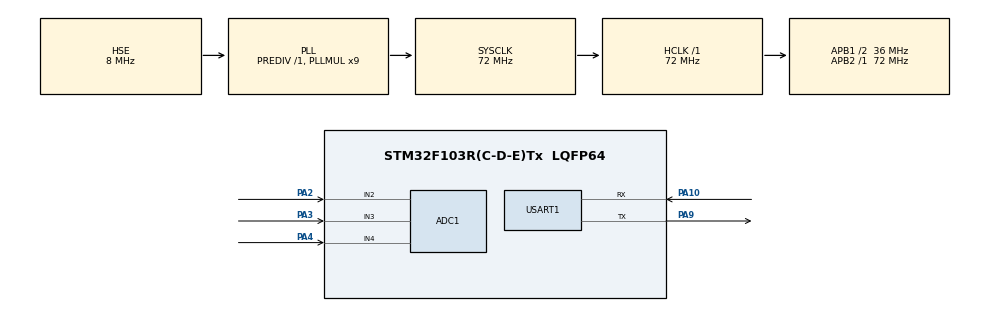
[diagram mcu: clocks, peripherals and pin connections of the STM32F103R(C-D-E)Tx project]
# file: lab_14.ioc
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ADC1.Channel-0\#ChannelRegularConversion=ADC_CHANNEL_2
ADC1.Channel-1\#ChannelRegularConversion=ADC_CHANNEL_3
ADC1.Channel-2\#ChannelRegularConversion=ADC_CHANNEL_4
ADC1.ContinuousConvMode=DISABLE
ADC1.DiscontinuousConvMode=ENABLE
ADC1.NbrOfConversion=3
ADC1.NbrOfConversionFlag=1
ADC1.Rank-0\#ChannelRegularConversion=1
ADC1.Rank-1\#ChannelRegularConversion=2
ADC1.Rank-2\#ChannelRegularConversion=3
ADC1.SamplingTime-0\#ChannelRegularConversion=ADC_SAMPLETIME_1CYCLE_5
ADC1.SamplingTime-1\#ChannelRegularConversion=ADC_SAMPLETIME_1CYCLE_5
ADC1.SamplingTime-2\#ChannelRegularConversion=ADC_SAMPLETIME_1CYCLE_5
ADC1.master=1
Mcu.Family=STM32F1
Mcu.Name=STM32F103R(C-D-E)Tx
Mcu.Package=LQFP64
NVIC.PriorityGroup=NVIC_PRIORITYGROUP_4
PA10.Mode=Asynchronous
PA10.Signal=USART1_RX
PA13.Mode=Serial_Wire
PA13.Signal=SYS_JTMS-SWDIO
PA14.Mode=Serial_Wire
PA14.Signal=SYS_JTCK-SWCLK
PA2.Signal=ADCx_IN2
PA3.Signal=ADCx_IN3
PA4.Signal=ADCx_IN4
PA9.Mode=Asynchronous
PA9.Signal=USART1_TX
PD0-OSC_IN.Mode=HSE-External-Oscillator
PD0-OSC_IN.Signal=RCC_OSC_IN
PD1-OSC_OUT.Mode=HSE-External-Oscillator
PD1-OSC_OUT.Signal=RCC_OSC_OUT
ProjectManager.HeapSize=0x200
ProjectManager.StackSize=0x400
ProjectManager.TargetToolchain=STM32CubeIDE
RCC.ADCPresc=RCC_ADCPCLK2_DIV6
RCC.AHBFreq_Value=72000000
RCC.APB1CLKDivider=RCC_HCLK_DIV2
RCC.APB1Freq_Value=36000000
RCC.APB1TimFreq_Value=72000000
RCC.APB2Freq_Value=72000000
RCC.APB2TimFreq_Value=72000000
RCC.HCLKFreq_Value=72000000
RCC.PLLMUL=RCC_PLL_MUL9
RCC.PLLSourceVirtual=RCC_PLLSOURCE_HSE
RCC.SYSCLKFreq_VALUE=72000000
RCC.SYSCLKSource=RCC_SYSCLKSOURCE_PLLCLK
RCC.USBFreq_Value=72000000
SH.ADCx_IN2.0=ADC1_IN2,IN2
SH.ADCx_IN3.0=ADC1_IN3,IN3
SH.ADCx_IN4.0=ADC1_IN4,IN4
USART1.VirtualMode=VM_ASYNC
board=custom

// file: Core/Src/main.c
/* USER CODE BEGIN Header */
/**
 ******************************************************************************
 * @file           : main.c
 * @brief          : Main program body
 ******************************************************************************
 * @attention
 *
 * Copyright (c) 2023 STMicroelectronics.
 * All rights reserved.
 *
 * This software is licensed under terms that can be found in the LICENSE file
 * in the root directory of this software component.
 * If no LICENSE file comes with this software, it is provided AS-IS.
 *
 ******************************************************************************
 */
/* USER CODE END Header */
#include "main.h"

/* USER CODE BEGIN Includes */
#include <stdio.h>
#include <string.h>
#include "lcd.h"

/* USER CODE END Includes */

ADC_HandleTypeDef hadc1;

UART_HandleTypeDef huart1;

void SystemClock_Config(void);
static void MX_GPIO_Init(void);
static void MX_ADC1_Init(void);
static void MX_USART1_UART_Init(void);
/* USER CODE BEGIN PFP */

int adcBuf[3] = {0};
/* USER CODE END PFP */

/* USER CODE BEGIN 0 */
int test(void) {
    LCD_Init();
    LCD_Clear(WHITE);
    uint16_t raw;
    char msg[32];
    double vol;
    HAL_UART_Transmit(&huart1, "Start\r\n", 7, HAL_MAX_DELAY);
    while (1) {
        /* USER CODE END WHILE */
        /* USER CODE BEGIN 3 */
        for (int i = 0; i < 3; i++) {
            HAL_ADC_Start(&hadc1);
            HAL_ADC_PollForConversion(&hadc1, HAL_MAX_DELAY);
            adcBuf[i] = HAL_ADC_GetValue(&hadc1);
            sprintf(msg, "ch:%d %d\r\n", i, adcBuf[i]);
            HAL_UART_Transmit(&huart1, (uint8_t *)msg, strlen(msg),
                              HAL_MAX_DELAY);

            LCD_ShowString(120, 180+i*30, 240, 16, 16, msg);
        }
        HAL_Delay(500);
    }
}
/* USER CODE END 0 */

int main(void) {

    /* MCU
     * Configuration--------------------------------------------------------*/

    /* Reset of all peripherals, Initializes the Flash interface and the
     * Systick. */
    HAL_Init();

    /* Configure the system clock */
    SystemClock_Config();

    /* Initialize all configured peripherals */
    MX_GPIO_Init();
    MX_ADC1_Init();
    MX_USART1_UART_Init();

    /* Infinite loop */
    /* USER CODE BEGIN WHILE */
    test();
    while (1) {
        /* USER CODE END WHILE */

    }
}

void SystemClock_Config(void) {
    RCC_OscInitTypeDef RCC_OscInitStruct = {0};
    RCC_ClkInitTypeDef RCC_ClkInitStruct = {0};
    RCC_PeriphCLKInitTypeDef PeriphClkInit = {0};

    /** Initializes the RCC Oscillators according to the specified parameters
     * in the RCC_OscInitTypeDef structure.
     */
    RCC_OscInitStruct.OscillatorType = RCC_OSCILLATORTYPE_HSE;
    RCC_OscInitStruct.HSEState = RCC_HSE_ON;
    RCC_OscInitStruct.HSEPredivValue = RCC_HSE_PREDIV_DIV1;
    RCC_OscInitStruct.HSIState = RCC_HSI_ON;
    RCC_OscInitStruct.PLL.PLLState = RCC_PLL_ON;
    RCC_OscInitStruct.PLL.PLLSource = RCC_PLLSOURCE_HSE;
    RCC_OscInitStruct.PLL.PLLMUL = RCC_PLL_MUL9;
    if (HAL_RCC_OscConfig(&RCC_OscInitStruct) != HAL_OK) {
        Error_Handler();
    }

    /** Initializes the CPU, AHB and APB buses clocks
     */
    RCC_ClkInitStruct.ClockType = RCC_CLOCKTYPE_HCLK | RCC_CLOCKTYPE_SYSCLK |
                                  RCC_CLOCKTYPE_PCLK1 | RCC_CLOCKTYPE_PCLK2;
    RCC_ClkInitStruct.SYSCLKSource = RCC_SYSCLKSOURCE_PLLCLK;
    RCC_ClkInitStruct.AHBCLKDivider = RCC_SYSCLK_DIV1;
    RCC_ClkInitStruct.APB1CLKDivider = RCC_HCLK_DIV2;
    RCC_ClkInitStruct.APB2CLKDivider = RCC_HCLK_DIV1;

    if (HAL_RCC_ClockConfig(&RCC_ClkInitStruct, FLASH_LATENCY_2) != HAL_OK) {
        Error_Handler();
    }
    PeriphClkInit.PeriphClockSelection = RCC_PERIPHCLK_ADC;
    PeriphClkInit.AdcClockSelection = RCC_ADCPCLK2_DIV6;
    if (HAL_RCCEx_PeriphCLKConfig(&PeriphClkInit) != HAL_OK) {
        Error_Handler();
    }
}

static void MX_ADC1_Init(void) {

    ADC_ChannelConfTypeDef sConfig = {0};

    /** Common config
     */
    hadc1.Instance = ADC1;
    hadc1.Init.ScanConvMode = ADC_SCAN_ENABLE;
    hadc1.Init.ContinuousConvMode = DISABLE;
    hadc1.Init.DiscontinuousConvMode = ENABLE;
    hadc1.Init.NbrOfDiscConversion = 1;
    hadc1.Init.ExternalTrigConv = ADC_SOFTWARE_START;
    hadc1.Init.DataAlign = ADC_DATAALIGN_RIGHT;
    hadc1.Init.NbrOfConversion = 3;
    if (HAL_ADC_Init(&hadc1) != HAL_OK) {
        Error_Handler();
    }

    /** Configure Regular Channel
     */
    sConfig.Channel = ADC_CHANNEL_2;
    sConfig.Rank = ADC_REGULAR_RANK_1;
    sConfig.SamplingTime = ADC_SAMPLETIME_1CYCLE_5;
    if (HAL_ADC_ConfigChannel(&hadc1, &sConfig) != HAL_OK) {
        Error_Handler();
    }

    /** Configure Regular Channel
     */
    sConfig.Channel = ADC_CHANNEL_3;
    sConfig.Rank = ADC_REGULAR_RANK_2;
    if (HAL_ADC_ConfigChannel(&hadc1, &sConfig) != HAL_OK) {
        Error_Handler();
    }

    /** Configure Regular Channel
     */
    sConfig.Channel = ADC_CHANNEL_4;
    sConfig.Rank = ADC_REGULAR_RANK_3;
    if (HAL_ADC_ConfigChannel(&hadc1, &sConfig) != HAL_OK) {
        Error_Handler();
    }
}

static void MX_USART1_UART_Init(void) {

    huart1.Instance = USART1;
    huart1.Init.BaudRate = 115200;
    huart1.Init.WordLength = UART_WORDLENGTH_8B;
    huart1.Init.StopBits = UART_STOPBITS_1;
    huart1.Init.Parity = UART_PARITY_NONE;
    huart1.Init.Mode = UART_MODE_TX_RX;
    huart1.Init.HwFlowCtl = UART_HWCONTROL_NONE;
    huart1.Init.OverSampling = UART_OVERSAMPLING_16;
    if (HAL_UART_Init(&huart1) != HAL_OK) {
        Error_Handler();
    }
}

static void MX_GPIO_Init(void) {

    /* GPIO Ports Clock Enable */
    __HAL_RCC_GPIOD_CLK_ENABLE();
    __HAL_RCC_GPIOA_CLK_ENABLE();

}

void Error_Handler(void) {
    /* USER CODE BEGIN Error_Handler_Debug */
    /* User can add his own implementation to report the HAL error return state
     */
    __disable_irq();
    while (1) {
    }
    /* USER CODE END Error_Handler_Debug */
}

#ifdef USE_FULL_ASSERT
/**
 * @brief  Reports the name of the source file and the source line number
 *         where the assert_param error has occurred.
 * @param  file: pointer to the source file name
 * @param  line: assert_param error line source number
 * @retval None
 */
void assert_failed(uint8_t *file, uint32_t line) {
    /* USER CODE BEGIN 6 */
    /* User can add his own implementation to report the file name and line
       number, ex: printf("Wrong parameters value: file %s on line %d\r\n",
       file, line) */
    /* USER CODE END 6 */
}
#endif /* USE_FULL_ASSERT */
